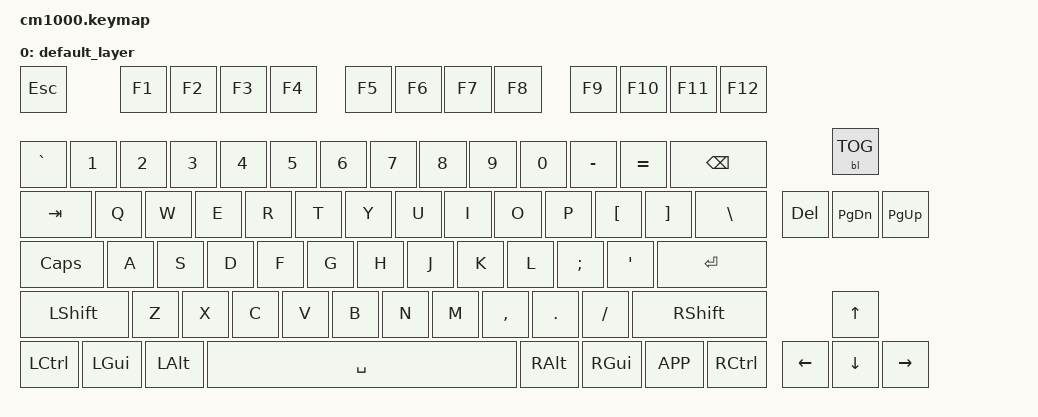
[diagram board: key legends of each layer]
#include <zephyr/dt-bindings/input/input-event-codes.h>
#include <behaviors.dtsi>
#include <dt-bindings/zmk/backlight.h>
#include <dt-bindings/zmk/keys.h>

/ {
    keymap {
        compatible = "zmk,keymap";

        default_layer {
            bindings = <
&kp ESC  &kp F1  &kp F2  &kp F3  &kp F4  &kp F5  &kp F6  &kp F7  &kp F8  &kp F9  &kp F10  &kp F11  &kp F12  &bl BL_TOG  &kp GRAVE  &kp N1  &kp N2  &kp N3  &kp N4  &kp N5  &kp N6  &kp N7  &kp N8  &kp N9  &kp N0  &kp MINUS  &kp EQUAL  &kp BSPC  &kp TAB  &kp Q  &kp W  &kp E  &kp R  &kp T  &kp Y  &kp U  &kp I  &kp O  &kp P  &kp LBKT  &kp RBKT  &kp BSLH  &kp DEL  &kp PG_DN  &kp PG_UP  &kp CAPS  &kp A  &kp S  &kp D  &kp F  &kp G  &kp H  &kp J  &kp K  &kp L  &kp SEMI  &kp SQT  &kp RET  &kp LSHFT  &kp Z  &kp X  &kp C  &kp V  &kp B  &kp N  &kp M  &kp COMMA  &kp DOT  &kp SLASH  &kp RSHFT  &kp UP  &kp LCTRL  &kp LGUI  &kp LALT  &kp SPACE  &kp RALT  &kp RGUI  &kp K_APP  &kp RCTRL  &kp LEFT  &kp DOWN  &kp RIGHT
            >;
        };
    };
};

&rgb_led_strip { chain-length = <82>; };
